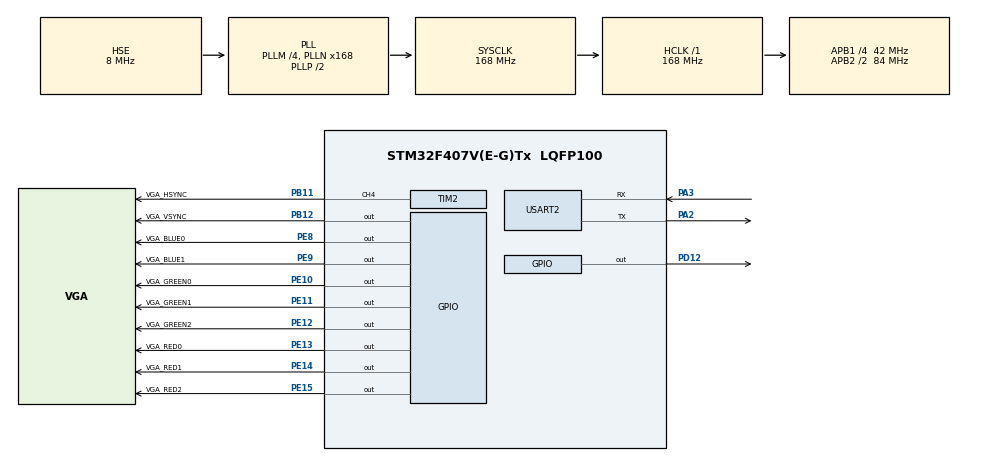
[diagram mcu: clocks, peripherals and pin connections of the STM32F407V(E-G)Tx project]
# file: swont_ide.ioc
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Dma.Request0=TIM1_UP
Dma.TIM1_UP.0.Direction=DMA_MEMORY_TO_PERIPH
Dma.TIM1_UP.0.FIFOMode=DMA_FIFOMODE_DISABLE
Dma.TIM1_UP.0.Instance=DMA2_Stream5
Dma.TIM1_UP.0.MemDataAlignment=DMA_MDATAALIGN_BYTE
Dma.TIM1_UP.0.MemInc=DMA_MINC_ENABLE
Dma.TIM1_UP.0.Mode=DMA_NORMAL
Dma.TIM1_UP.0.PeriphDataAlignment=DMA_PDATAALIGN_BYTE
Dma.TIM1_UP.0.PeriphInc=DMA_PINC_DISABLE
Dma.TIM1_UP.0.Priority=DMA_PRIORITY_VERY_HIGH
Mcu.Family=STM32F4
Mcu.Name=STM32F407V(E-G)Tx
Mcu.Package=LQFP100
NVIC.DMA2_Stream5_IRQn=true\:0\:0\:false\:false\:true\:false\:true\:true
NVIC.PriorityGroup=NVIC_PRIORITYGROUP_4
NVIC.TIM2_IRQn=true\:0\:0\:true\:false\:true\:true\:true\:true
NVIC.USART2_IRQn=true\:0\:0\:false\:false\:true\:true\:true\:true
PA13.Mode=Serial_Wire
PA13.Signal=SYS_JTMS-SWDIO
PA14.Mode=Serial_Wire
PA14.Signal=SYS_JTCK-SWCLK
PA2.Mode=Asynchronous
PA2.Signal=USART2_TX
PA3.Mode=Asynchronous
PA3.Signal=USART2_RX
PB11.GPIO_Label=VGA_HSYNC
PB11.GPIO_Speed=GPIO_SPEED_FREQ_VERY_HIGH
PB11.Signal=S_TIM2_CH4
PB12.GPIO_Label=VGA_VSYNC
PB12.GPIO_PuPd=GPIO_NOPULL
PB12.GPIO_Speed=GPIO_SPEED_FREQ_VERY_HIGH
PB12.Signal=GPIO_Output
PD12.Signal=GPIO_Output
PE10.GPIO_Label=VGA_GREEN0
PE10.GPIO_PuPd=GPIO_NOPULL
PE10.GPIO_Speed=GPIO_SPEED_FREQ_VERY_HIGH
PE10.Signal=GPIO_Output
PE11.GPIO_Label=VGA_GREEN1
PE11.GPIO_PuPd=GPIO_NOPULL
PE11.GPIO_Speed=GPIO_SPEED_FREQ_VERY_HIGH
PE11.Signal=GPIO_Output
PE12.GPIO_Label=VGA_GREEN2
PE12.GPIO_PuPd=GPIO_NOPULL
PE12.GPIO_Speed=GPIO_SPEED_FREQ_VERY_HIGH
PE12.Signal=GPIO_Output
PE13.GPIO_Label=VGA_RED0
PE13.GPIO_PuPd=GPIO_NOPULL
PE13.GPIO_Speed=GPIO_SPEED_FREQ_VERY_HIGH
PE13.Signal=GPIO_Output
PE14.GPIO_Label=VGA_RED1
PE14.GPIO_PuPd=GPIO_NOPULL
PE14.GPIO_Speed=GPIO_SPEED_FREQ_VERY_HIGH
PE14.Signal=GPIO_Output
PE15.GPIO_Label=VGA_RED2
PE15.GPIO_PuPd=GPIO_NOPULL
PE15.GPIO_Speed=GPIO_SPEED_FREQ_VERY_HIGH
PE15.Signal=GPIO_Output
PE8.GPIO_Label=VGA_BLUE0
PE8.GPIO_PuPd=GPIO_NOPULL
PE8.GPIO_Speed=GPIO_SPEED_FREQ_VERY_HIGH
PE8.Signal=GPIO_Output
PE9.GPIO_Label=VGA_BLUE1
PE9.GPIO_PuPd=GPIO_NOPULL
PE9.GPIO_Speed=GPIO_SPEED_FREQ_VERY_HIGH
PE9.Signal=GPIO_Output
PH0-OSC_IN.Mode=HSE-External-Oscillator
PH0-OSC_IN.Signal=RCC_OSC_IN
PH1-OSC_OUT.Mode=HSE-External-Oscillator
PH1-OSC_OUT.Signal=RCC_OSC_OUT
ProjectManager.HeapSize=0x200
ProjectManager.StackSize=0x400
ProjectManager.TargetToolchain=CMake
RCC.48MHZClocksFreq_Value=84000000
RCC.AHBFreq_Value=168000000
RCC.APB1CLKDivider=RCC_HCLK_DIV4
RCC.APB1Freq_Value=42000000
RCC.APB1TimFreq_Value=84000000
RCC.APB2CLKDivider=RCC_HCLK_DIV2
RCC.APB2Freq_Value=84000000
RCC.APB2TimFreq_Value=168000000
RCC.CortexFreq_Value=168000000
RCC.HCLKFreq_Value=168000000
RCC.HSE_VALUE=8000000
RCC.HSI_VALUE=16000000
RCC.LSE_VALUE=32768
RCC.PLLM=4
RCC.PLLN=168
RCC.PLLSourceVirtual=RCC_PLLSOURCE_HSE
RCC.SYSCLKFreq_VALUE=168000000
RCC.SYSCLKSource=RCC_SYSCLKSOURCE_PLLCLK
RCC.VCOOutputFreq_Value=336000000
SH.S_TIM2_CH4.0=TIM2_CH4,PWM Generation4 CH4
TIM1.Period=VGA_TIM1_PERIODE
TIM1.Prescaler=VGA_TIM1_PRESCALE
TIM2.AutoReloadPreload=TIM_AUTORELOAD_PRELOAD_DISABLE
TIM2.Channel-PWM\ Generation3\ No\ Output=TIM_CHANNEL_3
TIM2.Channel-PWM\ Generation4\ CH4=TIM_CHANNEL_4
TIM2.OCPolarity_3=TIM_OCPOLARITY_LOW
TIM2.OCPolarity_4=TIM_OCPOLARITY_LOW
TIM2.Period=VGA_TIM2_HSYNC_PERIODE
TIM2.Prescaler=VGA_TIM2_HSYNC_PRESCALE
TIM2.Pulse-PWM\ Generation3\ No\ Output=VGA_TIM2_HTRIGGER_START - VGA_TIM2_DMA_DELAY
TIM2.Pulse-PWM\ Generation4\ CH4=VGA_TIM2_HSYNC_IMP
USART2.VirtualMode=VM_ASYNC
VP_TIM1_VS_ClockSourceINT.Mode=Internal
VP_TIM2_VS_no_output3.Mode=PWM Generation3 No Output
board=custom

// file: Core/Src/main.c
/* USER CODE BEGIN Header */
/**
  ******************************************************************************
  * @file           : main.c
  * @brief          : Main program body
  ******************************************************************************
  * @attention
  *
  * <h2><center>&copy; Copyright (c) 2020 STMicroelectronics.
  * All rights reserved.</center></h2>
  *
  * This software component is licensed by ST under BSD 3-Clause license,
  * the "License"; You may not use this file except in compliance with the
  * License. You may obtain a copy of the License at:
  *                        opensource.org/licenses/BSD-3-Clause
  *
  ******************************************************************************
  */
/* USER CODE END Header */
#include "main.h"
#include "dma.h"
#include "tim.h"
#include "usart.h"
#include "gpio.h"

/* USER CODE BEGIN Includes */
#include "Logic_layer.h"
#include "API_func.h"
#include "stm32_ub_vga_screen.h"
#include <string.h>
#include <errno.h>

/* One byte buffer for interrupt reception */
uint8_t rx;

/* UART handle (generated by CubeMX) */
extern UART_HandleTypeDef huart2;

/* USER CODE END Includes */

/* USER CODE BEGIN PV */
input_vars input;

volatile char container[1024];
volatile int temp;
volatile int key;

/* USER CODE END PV */

void SystemClock_Config(void);

int main(void)
{

  /* MCU Configuration--------------------------------------------------------*/

  /* Reset of all peripherals, Initializes the Flash interface and the Systick. */
  HAL_Init();

  /* Configure the system clock */
  SystemClock_Config();

  /* Initialize all configured peripherals */
  MX_GPIO_Init();
  MX_DMA_Init();
  MX_TIM1_Init();
  MX_TIM2_Init();
  MX_USART2_UART_Init();
  /* USER CODE BEGIN 2 */

  char msg[] = "STM32 UART ready!\r\n";
  HAL_UART_Transmit(&huart2, (uint8_t*)msg, strlen(msg), HAL_MAX_DELAY);

  UB_VGA_Screen_Init(); // Init VGA-Screen

  int i;

  for(i = 0; i < LINE_BUFLEN; i++)
	  input.line_rx_buffer[i] = 0;

  // Reset some stuff
  input.byte_buffer_rx[0] = 0;
  input.char_counter = 0;
  input.command_execute_flag = FALSE;

  // HAl wants a memory location to store the charachter it receives from the UART
  // We will pass it an array, but we will not use it. We declare our own variable in the interupt handler
  // See stm32f4xx_it.c
  HAL_UART_Receive_IT(&huart2, input.byte_buffer_rx, BYTE_BUFLEN);

  /* USER CODE END 2 */

  /* Infinite loop */
  /* USER CODE BEGIN WHILE */
  API_clearscreen(VGA_COL_BLACK);
  HAL_Delay(3000);
  for(int i = 10; i < 240; i++)
  {
    API_draw_line(1, i, 319, i, i, 1, 0);
  }
  API_draw_bitmap(130, 90, 7);

  HAL_Delay(1000);

  API_clearscreen(VGA_COL_WHITE);

  HAL_Delay(100);

  while (1)
  {

    // Check if we have a complete line to process
    if (input.command_execute_flag == TRUE) {
      // Echo back the received line
      HAL_UART_Transmit(&huart2, (uint8_t*)input.line_rx_buffer, input.char_counter, HAL_MAX_DELAY);
      HAL_UART_Transmit(&huart2, (uint8_t*)"\r\n", 2, HAL_MAX_DELAY);

      struct LogicInterface cmd = {0};
      memset(&cmd, 0, sizeof(cmd));

      uint32_t kommando = 0;
      uint32_t strnglgth = 0;

      for (int j = 0; j < input.msglen+1; j++)
      {
    	if(input.line_rx_buffer[j] == '\0')
    	{
    		strnglgth = j;
    	}
      }
      for(int j = 0; j < input.msglen; j++)
      {
    	if(input.line_rx_buffer[j] == ',')
    	{
    		kommando = j-1;
    		for(int i = 0; i <= kommando; i++)
    		{
    			cmd.function_name[i] = input.line_rx_buffer[i];
    		}

    		break;
    	}
      }

      cmd.argument_len = strnglgth - kommando;
      char arg[128]= {0};
      for(int j = 0; j<= input.msglen-kommando;j++)
      {
    	  arg[j] = input.line_rx_buffer[j+kommando+2];
      }

      cmd.arguments = arg;
      int ret = 0;
      ret = execute_command(&cmd);

      char ret_str[20];

      switch(ret) {
        case 0:
          strcpy((char *)ret_str, "OK\r\n");
          break;
        case -EINVAL:
          strcpy((char *)ret_str, "ERR:EINVAL\r\n");
          break;
        case -ENOTSUP:
          strcpy((char *)ret_str, "ERR:ENOTSUP\r\n");
          break;
        case -ENOMEM:
          strcpy((char *)ret_str, "ERR:ENOMEM\r\n");
          break;
        default:
          strcpy((char *)ret_str, "ERR:UNKNOWN\r\n");
          break;
      }
      HAL_UART_Transmit(&huart2, (uint8_t *)ret_str, strlen(ret_str), HAL_MAX_DELAY);

      // Reset for next command
      input.char_counter = 0;
      input.command_execute_flag = FALSE;
      memset((void*)input.line_rx_buffer, 0, LINE_BUFLEN);
    }

    HAL_Delay(100);
    /* USER CODE END WHILE */

  }
}

void SystemClock_Config(void)
{
  RCC_OscInitTypeDef RCC_OscInitStruct = {0};
  RCC_ClkInitTypeDef RCC_ClkInitStruct = {0};

  /** Configure the main internal regulator output voltage
  */
  __HAL_RCC_PWR_CLK_ENABLE();
  __HAL_PWR_VOLTAGESCALING_CONFIG(PWR_REGULATOR_VOLTAGE_SCALE1);
  /** Initializes the RCC Oscillators according to the specified parameters
  * in the RCC_OscInitTypeDef structure.
  */
  RCC_OscInitStruct.OscillatorType = RCC_OSCILLATORTYPE_HSE;
  RCC_OscInitStruct.HSEState = RCC_HSE_ON;
  RCC_OscInitStruct.PLL.PLLState = RCC_PLL_ON;
  RCC_OscInitStruct.PLL.PLLSource = RCC_PLLSOURCE_HSE;
  RCC_OscInitStruct.PLL.PLLM = 4;
  RCC_OscInitStruct.PLL.PLLN = 168;
  RCC_OscInitStruct.PLL.PLLP = RCC_PLLP_DIV2;
  RCC_OscInitStruct.PLL.PLLQ = 4;
  if (HAL_RCC_OscConfig(&RCC_OscInitStruct) != HAL_OK)
  {
    Error_Handler();
  }
  /** Initializes the CPU, AHB and APB buses clocks
  */
  RCC_ClkInitStruct.ClockType = RCC_CLOCKTYPE_HCLK|RCC_CLOCKTYPE_SYSCLK
                              |RCC_CLOCKTYPE_PCLK1|RCC_CLOCKTYPE_PCLK2;
  RCC_ClkInitStruct.SYSCLKSource = RCC_SYSCLKSOURCE_PLLCLK;
  RCC_ClkInitStruct.AHBCLKDivider = RCC_SYSCLK_DIV1;
  RCC_ClkInitStruct.APB1CLKDivider = RCC_HCLK_DIV4;
  RCC_ClkInitStruct.APB2CLKDivider = RCC_HCLK_DIV2;

  if (HAL_RCC_ClockConfig(&RCC_ClkInitStruct, FLASH_LATENCY_5) != HAL_OK)
  {
    Error_Handler();
  }
}

/* USER CODE BEGIN 4 */
uint8_t rxChar;
char uartBuffer[128];
uint16_t uartIndex = 0;

/**
  * @brief  Reads a string from UART and sends it back
  * @param  huart: UART handle
  * @param  buffer: Pointer to buffer to store received string
  * @param  maxLen: Maximum length of string to receive
  * @retval Number of characters received
  */
uint16_t UART_ReadStringEcho(UART_HandleTypeDef *huart, char *buffer, uint16_t maxLen)
{
  uint16_t index = 0;
  uint8_t rxChar;

  while (index < maxLen - 1) {
    // Read one character from UART
    if (HAL_UART_Receive(huart, &rxChar, 1, HAL_MAX_DELAY) == HAL_OK) {
      buffer[index] = rxChar;

      // Echo back the character
      HAL_UART_Transmit(huart, &rxChar, 1, HAL_MAX_DELAY);

      // Check for string terminator (newline or carriage return)
      if (rxChar == '\n' || rxChar == '\r') {
        buffer[index] = '\0';  // Null-terminate the string
        return index;
      }
      index++;
    } else {
      break;  // Error occurred
    }
  }

  buffer[index] = '\0';  // Null-terminate the string
  return index;
}

#ifdef __GNUC__
	#define USART_PRINTF int __io_putchar(int ch)		//With GCC/RAISONANCE printf calls __io_putchar()
#else
	#define USART_PRINTF int fputc(int ch, FILE *f)		//With other compiler printf calls fputc()
#endif /* __GNUC__ */

//Retargets the C library printf function to the USART
USART_PRINTF
{
	HAL_UART_Transmit(&huart2, (uint8_t *)&ch, 1, 0xFFFF);	//Write character to UART2
	return ch;												//Return the character
}

/* USER CODE END 4 */

void Error_Handler(void)
{
}

/************************ (C) COPYRIGHT STMicroelectronics *****END OF FILE****/
